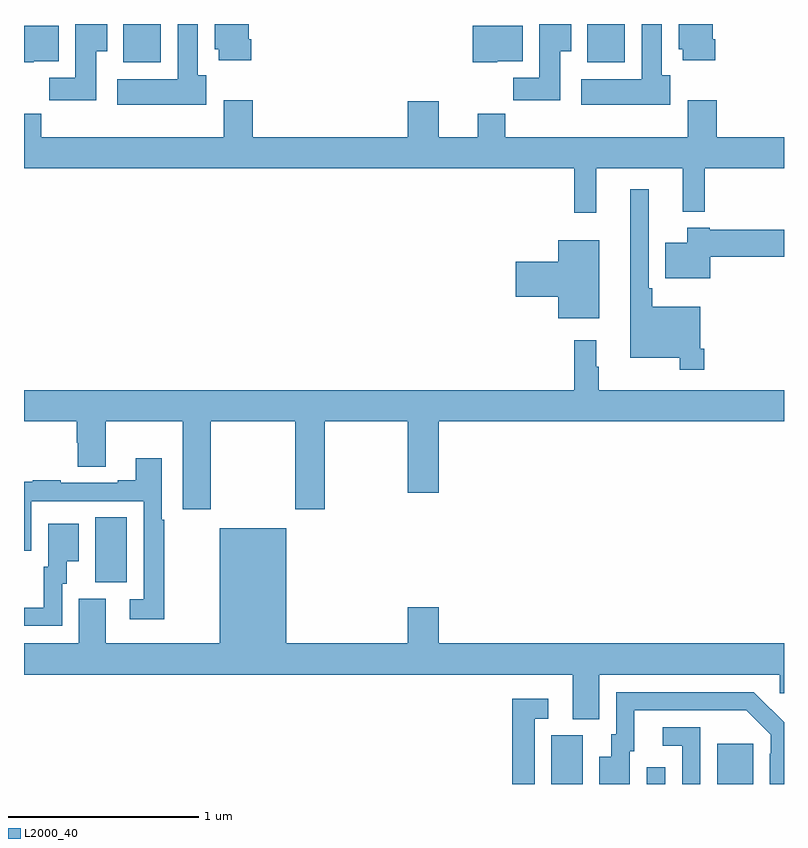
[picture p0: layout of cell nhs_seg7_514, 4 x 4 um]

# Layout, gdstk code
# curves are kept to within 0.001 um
import gdstk
lib = gdstk.Library(unit=1e-6, precision=1e-09)
def R(c, l, rs):  # rectangles x0, y0, x1, y1
    for r in rs: c.add(gdstk.rectangle(r[:2], r[2:], *l))
def P(c, l, *ps):  # polygons
    for p in ps: c.add(gdstk.Polygon(p, *l))
L2000_40 = (2000, 40)

nhs_seg7_514 = lib.new_cell('nhs_seg7_514')
R(nhs_seg7_514, L2000_40, [(153.776,1040,153.94,1040.256), (154.278,1040,154.374,1040.089), (154.649,1040,154.837,1040.212), (151.376,1041.061,151.54,1041.404), (151.523,1043.798,151.72,1044), (153.965,1043.798,154.162,1044)])
P(nhs_seg7_514, L2000_40, [(151.381,1043.857),(151.438,1043.857),(151.438,1044),(151.271,1044),(151.271,1043.716),(151.132,1043.716),(151.132,1043.598),(151.381,1043.598)],
  [(154.402,1043.73),(154.357,1043.73),(154.357,1044),(154.25,1044),(154.25,1043.71),(153.933,1043.71),(153.933,1043.576),(154.402,1043.576)],
  [(153.823,1043.857),(153.88,1043.857),(153.88,1044),(153.713,1044),(153.713,1043.716),(153.574,1043.716),(153.574,1043.598),(153.823,1043.598)],
  [(154.637,1043.92),(154.624,1043.92),(154.624,1044),(154.445,1044),(154.445,1043.868),(154.466,1043.868),(154.466,1043.808),(154.637,1043.808)],
  [(151.96,1043.73),(151.915,1043.73),(151.915,1044),(151.808,1044),(151.808,1043.71),(151.491,1043.71),(151.491,1043.576),(151.96,1043.576)],
  [(152.195,1043.92),(152.182,1043.92),(152.182,1044),(152.003,1044),(152.003,1043.868),(152.024,1043.868),(152.024,1043.808),(152.195,1043.808)],
  [(153.492,1043.804),(153.625,1043.804),(153.625,1043.992),(153.362,1043.992),(153.362,1043.798),(153.492,1043.798)],
  [(151.05,1043.804),(151.183,1043.804),(151.183,1043.992),(151,1043.992),(151,1043.798),(151.05,1043.798)],
  [(154.013,1043.24),(154.466,1043.24),(154.466,1043.012),(154.583,1043.012),(154.583,1043.24),(155,1043.24),(155,1043.404),(154.646,1043.404),(154.646,1043.599),(154.493,1043.599),(154.493,1043.404),(153.533,1043.404),(153.533,1043.528),(153.389,1043.528),(153.389,1043.404),(153.184,1043.404),(153.184,1043.593),(153.02,1043.593),(153.02,1043.404),(152.204,1043.404),(152.204,1043.599),(152.051,1043.599),(152.051,1043.404),(151.091,1043.404),(151.091,1043.528),(151,1043.528),(151,1043.24),(153.895,1043.24),(153.895,1043.007),(154.013,1043.007)],
  [(154.58,1042.291),(154.56,1042.291),(154.56,1042.513),(154.307,1042.513),(154.307,1042.609),(154.287,1042.609),(154.287,1043.131),(154.19,1043.131),(154.19,1042.244),(154.452,1042.244),(154.452,1042.179),(154.58,1042.179)],
  [(154.612,1042.775),(155,1042.775),(155,1042.917),(154.608,1042.917),(154.608,1042.927),(154.49,1042.927),(154.49,1042.849),(154.376,1042.849),(154.376,1042.661),(154.612,1042.661)],
  [(154.027,1042.861),(153.812,1042.861),(153.812,1042.748),(153.588,1042.748),(153.588,1042.565),(153.812,1042.565),(153.812,1042.451),(154.027,1042.451)],
  [(151.983,1041.908),(152.428,1041.908),(152.428,1041.447),(152.583,1041.447),(152.583,1041.908),(153.02,1041.908),(153.02,1041.534),(153.184,1041.534),(153.184,1041.908),(155,1041.908),(155,1042.072),(154.024,1042.072),(154.024,1042.196),(154.012,1042.196),(154.012,1042.336),(153.895,1042.336),(153.895,1042.072),(151,1042.072),(151,1041.908),(151.277,1041.908),(151.277,1041.795),(151.282,1041.795),(151.282,1041.67),(151.429,1041.67),(151.429,1041.908),(151.835,1041.908),(151.835,1041.447),(151.983,1041.447)],
  [(151.738,1041.392),(151.725,1041.392),(151.725,1041.715),(151.589,1041.715),(151.589,1041.598),(151.493,1041.598),(151.493,1041.585),(151.193,1041.585),(151.193,1041.598),(151.045,1041.598),(151.045,1041.591),(151,1041.591),(151,1041.228),(151.038,1041.228),(151.038,1041.489),(151.629,1041.489),(151.629,1040.973),(151.557,1040.973),(151.557,1040.868),(151.738,1040.868)],
  [(151.2,1041.054),(151.225,1041.054),(151.225,1041.173),(151.288,1041.173),(151.288,1041.37),(151.127,1041.37),(151.127,1041.144),(151.103,1041.144),(151.103,1040.928),(151,1040.928),(151,1040.832),(151.2,1040.832)],
  [(154.027,1040.576),(154.977,1040.576),(154.977,1040.478),(155,1040.478),(155,1040.74),(153.184,1040.74),(153.184,1040.929),(153.02,1040.929),(153.02,1040.74),(152.38,1040.74),(152.38,1041.346),(152.03,1041.346),(152.03,1040.74),(151.429,1040.74),(151.429,1040.976),(151.289,1040.976),(151.289,1040.74),(151,1040.74),(151,1040.576),(153.887,1040.576),(153.887,1040.341),(154.027,1040.341)],
  [(154.189,1040.172),(154.213,1040.172),(154.213,1040.388),(154.801,1040.388),(154.929,1040.259),(154.929,1040.159),(154.926,1040.159),(154.926,1040),(155,1040),(155,1040.326),(154.84,1040.484),(154.116,1040.484),(154.116,1040.262),(154.091,1040.262),(154.091,1040.143),(154.028,1040.143),(154.028,1040),(154.189,1040)],
  [(153.687,1040.343),(153.76,1040.343),(153.76,1040.449),(153.571,1040.449),(153.571,1040),(153.687,1040)],
  [(154.56,1040.298),(154.362,1040.298),(154.362,1040.202),(154.464,1040.202),(154.464,1040),(154.56,1040)])

lib.write_gds('nhs_seg7_514.gds')
